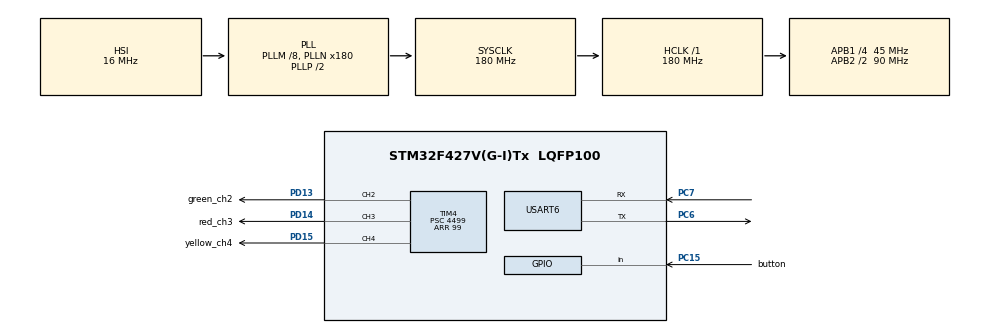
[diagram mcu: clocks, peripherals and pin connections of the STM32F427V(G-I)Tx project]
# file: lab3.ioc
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Mcu.Family=STM32F4
Mcu.Name=STM32F427V(G-I)Tx
Mcu.Package=LQFP100
NVIC.PriorityGroup=NVIC_PRIORITYGROUP_4
NVIC.TIM4_IRQn=true\:0\:0\:false\:false\:true\:true\:true\:true
NVIC.TIM6_DAC_IRQn=true\:0\:0\:false\:false\:true\:true\:true\:true
NVIC.USART6_IRQn=true\:0\:0\:false\:false\:true\:true\:true\:true
PA13.Mode=JTAG_5_pins
PA13.Signal=SYS_JTMS-SWDIO
PA14.Mode=JTAG_5_pins
PA14.Signal=SYS_JTCK-SWCLK
PA15.Mode=JTAG_5_pins
PA15.Signal=SYS_JTDI
PB3.Mode=JTAG_5_pins
PB3.Signal=SYS_JTDO-SWO
PB4.Mode=JTAG_5_pins
PB4.Signal=SYS_JTRST
PC15/OSC32_OUT.GPIO_Label=button
PC15/OSC32_OUT.Signal=GPIO_Input
PC6.Mode=Asynchronous
PC6.Signal=USART6_TX
PC7.Mode=Asynchronous
PC7.Signal=USART6_RX
PD13.GPIO_Label=green_ch2
PD13.Signal=S_TIM4_CH2
PD14.GPIO_Label=red_ch3
PD14.Signal=S_TIM4_CH3
PD15.GPIO_Label=yellow_ch4
PD15.Signal=S_TIM4_CH4
PH0/OSC_IN.Mode=HSE-External-Oscillator
PH0/OSC_IN.Signal=RCC_OSC_IN
PH1/OSC_OUT.Mode=HSE-External-Oscillator
PH1/OSC_OUT.Signal=RCC_OSC_OUT
ProjectManager.HeapSize=0x200
ProjectManager.StackSize=0x400
ProjectManager.TargetToolchain=STM32CubeIDE
RCC.48MHZClocksFreq_Value=90000000
RCC.AHBFreq_Value=180000000
RCC.APB1CLKDivider=RCC_HCLK_DIV4
RCC.APB1Freq_Value=45000000
RCC.APB1TimFreq_Value=90000000
RCC.APB2CLKDivider=RCC_HCLK_DIV2
RCC.APB2Freq_Value=90000000
RCC.APB2TimFreq_Value=180000000
RCC.CortexFreq_Value=180000000
RCC.HCLKFreq_Value=180000000
RCC.HSE_VALUE=25000000
RCC.HSI_VALUE=16000000
RCC.LSE_VALUE=32768
RCC.PLLM=8
RCC.PLLN=180
RCC.SYSCLKFreq_VALUE=180000000
RCC.SYSCLKSource=RCC_SYSCLKSOURCE_PLLCLK
RCC.VCOOutputFreq_Value=360000000
SH.S_TIM4_CH2.0=TIM4_CH2,PWM Generation2 CH2
SH.S_TIM4_CH3.0=TIM4_CH3,PWM Generation3 CH3
SH.S_TIM4_CH4.0=TIM4_CH4,PWM Generation4 CH4
TIM4.Channel-PWM\ Generation2\ CH2=TIM_CHANNEL_2
TIM4.Channel-PWM\ Generation3\ CH3=TIM_CHANNEL_3
TIM4.Channel-PWM\ Generation4\ CH4=TIM_CHANNEL_4
TIM4.Period=99
TIM4.Prescaler=4499
TIM6.Period=9999
TIM6.Prescaler=8999
USART6.VirtualMode=VM_ASYNC
VP_TIM6_VS_ClockSourceINT.Mode=Enable_Timer
board=custom

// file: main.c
/* USER CODE BEGIN Header */
/**
  ******************************************************************************
  * @file           : main.c
  * @brief          : Main program body
  ******************************************************************************
  * @attention
  *
  * Copyright (c) 2023 STMicroelectronics.
  * All rights reserved.
  *
  * This software is licensed under terms that can be found in the LICENSE file
  * in the root directory of this software component.
  * If no LICENSE file comes with this software, it is provided AS-IS.
  *
  ******************************************************************************
  */
/* USER CODE END Header */
#include "main.h"

/* USER CODE BEGIN Includes */
#include <stdlib.h>
#include <stdio.h>
#include <string.h>
/* USER CODE END Includes */

 TIM_HandleTypeDef htim4;
TIM_HandleTypeDef htim6;

UART_HandleTypeDef huart6;

void SystemClock_Config(void);
static void MX_GPIO_Init(void);
static void MX_USART6_UART_Init(void);
static void MX_TIM6_Init(void);
static void MX_TIM4_Init(void);

/* USER CODE BEGIN 0 */
uint8_t codes[8];
//mode a - d
char modes[] = {'a','b','c','d'};
uint32_t pointer = 0;
uint8_t mode = 'a';
uint8_t last = 'a';
void HAL_TIM_PeriodElapsedCallback(TIM_HandleTypeDef *htim){
	static int phase = 0;
	if(htim->Instance == TIM6){
		phase++;
		if (phase > 4) phase = 0;
		int pulse = 0;
		switch(phase){
			case 0: pulse = 0; break;
			case 1: pulse = 10; break;
			case 2: pulse = 30; break;
			case 3: pulse = 60; break;
			case 4: pulse = 80; break;
		}
		switch(mode){
		/*
		 * 2 - green
		 * 3 - red
		 * 4 - yellow
		 */
		case 'a':
			htim4.Instance->CCR2 = pulse;
			htim4.Instance->CCR3 = pulse;
			break;
		case 'b':
			htim4.Instance->CCR2 = pulse;
			htim4.Instance->CCR4 = pulse;
			break;
		case 'c':
			htim4.Instance->CCR2 = pulse;
			htim4.Instance->CCR3 = 80-pulse;
			break;
		case 'd':
			htim4.Instance->CCR2 = pulse;
			htim4.Instance->CCR4 = 80-pulse;
			break;
		default:
			break;
		}
	}
}
void out(char str[]){
	HAL_UART_Transmit(&huart6,(uint8_t*)str,strlen(str),10);
}
uint8_t choosing = 0;
void HAL_UART_RxCpltCallback(UART_HandleTypeDef *huart){
	out("You input:\r\n");
	HAL_UART_Transmit(&huart6,(uint8_t*)codes,sizeof(codes),10);
	out("\r\n");
	uint8_t command = codes[0];
	if(choosing == 1){
		choosing = 0;
		last = mode;
		mode = command;
		return;
	}
	if(command == '1'){
		last = mode;
		pointer++;
		mode = modes[pointer%4];
	}else if(command =='2'){
		mode = last;
	}else if(command == '3'){
		out("accelerate 10%\r\n");
		uint32_t currentPeriod = htim6.Init.Period;
		uint32_t newPeriod = (uint32_t)(currentPeriod * 0.9);
		htim6.Init.Period = newPeriod;
	}else if(command == '4'){
		out("slow down 10%\r\n");
		uint32_t currentPeriod = htim6.Init.Period;
		uint32_t newPeriod = (uint32_t)(currentPeriod * 1.1);
		htim6.Init.Period = newPeriod;
	}
	else if(command=='5'){
		out("Informations：\r\n");
		out("Now the brightness is:\r\n");
		char the_brightness[10];
		out("green: ");
		itoa(htim4.Instance->CCR2,the_brightness,10);
		out(the_brightness);
		out("\r\n");
		out("red: ");
		itoa(htim4.Instance->CCR3,the_brightness,10);
		out(the_brightness);
		out("\r\n");
		out("yellow: ");
		itoa(htim4.Instance->CCR4,the_brightness,10);
		out(the_brightness);
		out("\r\n");
	}else if(command == '6'){
		out("Choose which mode you want to use from 'a' to 'd':\r\n");

	}
	htim4.Instance->CCR2 = 0;
	htim4.Instance->CCR3 = 0;
	htim4.Instance->CCR4 = 0;
	out("Now you are in mode:\r\n");
	char mode_message[2];
	mode_message[0] = mode;
	mode_message[1] = '\0';
	HAL_UART_Transmit(&huart6,(uint8_t*)mode_message,2,10);
	out("\r\n");
	HAL_UART_Receive_IT(&huart6,codes,1);
}
/* USER CODE END 0 */

int main(void)
{

  /* MCU Configuration--------------------------------------------------------*/

  /* Reset of all peripherals, Initializes the Flash interface and the Systick. */
  HAL_Init();

  /* Configure the system clock */
  SystemClock_Config();

  /* Initialize all configured peripherals */
  MX_GPIO_Init();
  MX_USART6_UART_Init();
  MX_TIM6_Init();
  MX_TIM4_Init();
  /* USER CODE BEGIN 2 */
  HAL_UART_Receive_IT(&huart6,codes,1);
  HAL_TIM_Base_Start_IT(&htim6);
  HAL_TIM_PWM_Start(&htim4,TIM_CHANNEL_2);
  HAL_TIM_PWM_Start(&htim4, TIM_CHANNEL_3);
  HAL_TIM_PWM_Start(&htim4, TIM_CHANNEL_4);

  /* USER CODE END 2 */

  /* Infinite loop */
  while (1)
  {

  }
}

void SystemClock_Config(void)
{
  RCC_OscInitTypeDef RCC_OscInitStruct = {0};
  RCC_ClkInitTypeDef RCC_ClkInitStruct = {0};

  /** Configure the main internal regulator output voltage
  */
  __HAL_RCC_PWR_CLK_ENABLE();
  __HAL_PWR_VOLTAGESCALING_CONFIG(PWR_REGULATOR_VOLTAGE_SCALE1);

  /** Initializes the RCC Oscillators according to the specified parameters
  * in the RCC_OscInitTypeDef structure.
  */
  RCC_OscInitStruct.OscillatorType = RCC_OSCILLATORTYPE_HSI;
  RCC_OscInitStruct.HSIState = RCC_HSI_ON;
  RCC_OscInitStruct.HSICalibrationValue = RCC_HSICALIBRATION_DEFAULT;
  RCC_OscInitStruct.PLL.PLLState = RCC_PLL_ON;
  RCC_OscInitStruct.PLL.PLLSource = RCC_PLLSOURCE_HSI;
  RCC_OscInitStruct.PLL.PLLM = 8;
  RCC_OscInitStruct.PLL.PLLN = 180;
  RCC_OscInitStruct.PLL.PLLP = RCC_PLLP_DIV2;
  RCC_OscInitStruct.PLL.PLLQ = 4;
  if (HAL_RCC_OscConfig(&RCC_OscInitStruct) != HAL_OK)
  {
    Error_Handler();
  }

  /** Activate the Over-Drive mode
  */
  if (HAL_PWREx_EnableOverDrive() != HAL_OK)
  {
    Error_Handler();
  }

  /** Initializes the CPU, AHB and APB buses clocks
  */
  RCC_ClkInitStruct.ClockType = RCC_CLOCKTYPE_HCLK|RCC_CLOCKTYPE_SYSCLK
                              |RCC_CLOCKTYPE_PCLK1|RCC_CLOCKTYPE_PCLK2;
  RCC_ClkInitStruct.SYSCLKSource = RCC_SYSCLKSOURCE_PLLCLK;
  RCC_ClkInitStruct.AHBCLKDivider = RCC_SYSCLK_DIV1;
  RCC_ClkInitStruct.APB1CLKDivider = RCC_HCLK_DIV4;
  RCC_ClkInitStruct.APB2CLKDivider = RCC_HCLK_DIV2;

  if (HAL_RCC_ClockConfig(&RCC_ClkInitStruct, FLASH_LATENCY_5) != HAL_OK)
  {
    Error_Handler();
  }
}

static void MX_TIM4_Init(void)
{

  TIM_MasterConfigTypeDef sMasterConfig = {0};
  TIM_OC_InitTypeDef sConfigOC = {0};

  htim4.Instance = TIM4;
  htim4.Init.Prescaler = 4499;
  htim4.Init.CounterMode = TIM_COUNTERMODE_UP;
  htim4.Init.Period = 99;
  htim4.Init.ClockDivision = TIM_CLOCKDIVISION_DIV1;
  htim4.Init.AutoReloadPreload = TIM_AUTORELOAD_PRELOAD_DISABLE;
  if (HAL_TIM_PWM_Init(&htim4) != HAL_OK)
  {
    Error_Handler();
  }
  sMasterConfig.MasterOutputTrigger = TIM_TRGO_RESET;
  sMasterConfig.MasterSlaveMode = TIM_MASTERSLAVEMODE_DISABLE;
  if (HAL_TIMEx_MasterConfigSynchronization(&htim4, &sMasterConfig) != HAL_OK)
  {
    Error_Handler();
  }
  sConfigOC.OCMode = TIM_OCMODE_PWM1;
  sConfigOC.Pulse = 0;
  sConfigOC.OCPolarity = TIM_OCPOLARITY_HIGH;
  sConfigOC.OCFastMode = TIM_OCFAST_DISABLE;
  if (HAL_TIM_PWM_ConfigChannel(&htim4, &sConfigOC, TIM_CHANNEL_2) != HAL_OK)
  {
    Error_Handler();
  }
  if (HAL_TIM_PWM_ConfigChannel(&htim4, &sConfigOC, TIM_CHANNEL_3) != HAL_OK)
  {
    Error_Handler();
  }
  if (HAL_TIM_PWM_ConfigChannel(&htim4, &sConfigOC, TIM_CHANNEL_4) != HAL_OK)
  {
    Error_Handler();
  }
  HAL_TIM_MspPostInit(&htim4);

}

static void MX_TIM6_Init(void)
{

  TIM_MasterConfigTypeDef sMasterConfig = {0};

  htim6.Instance = TIM6;
  htim6.Init.Prescaler = 8999;
  htim6.Init.CounterMode = TIM_COUNTERMODE_UP;
  htim6.Init.Period = 9999;
  htim6.Init.AutoReloadPreload = TIM_AUTORELOAD_PRELOAD_DISABLE;
  if (HAL_TIM_Base_Init(&htim6) != HAL_OK)
  {
    Error_Handler();
  }
  sMasterConfig.MasterOutputTrigger = TIM_TRGO_RESET;
  sMasterConfig.MasterSlaveMode = TIM_MASTERSLAVEMODE_DISABLE;
  if (HAL_TIMEx_MasterConfigSynchronization(&htim6, &sMasterConfig) != HAL_OK)
  {
    Error_Handler();
  }

}

static void MX_USART6_UART_Init(void)
{

  huart6.Instance = USART6;
  huart6.Init.BaudRate = 115200;
  huart6.Init.WordLength = UART_WORDLENGTH_8B;
  huart6.Init.StopBits = UART_STOPBITS_1;
  huart6.Init.Parity = UART_PARITY_NONE;
  huart6.Init.Mode = UART_MODE_TX_RX;
  huart6.Init.HwFlowCtl = UART_HWCONTROL_NONE;
  huart6.Init.OverSampling = UART_OVERSAMPLING_16;
  if (HAL_UART_Init(&huart6) != HAL_OK)
  {
    Error_Handler();
  }

}

static void MX_GPIO_Init(void)
{
  GPIO_InitTypeDef GPIO_InitStruct = {0};

  /* GPIO Ports Clock Enable */
  __HAL_RCC_GPIOC_CLK_ENABLE();
  __HAL_RCC_GPIOH_CLK_ENABLE();
  __HAL_RCC_GPIOD_CLK_ENABLE();
  __HAL_RCC_GPIOA_CLK_ENABLE();
  __HAL_RCC_GPIOB_CLK_ENABLE();

  /*Configure GPIO pin : button_Pin */
  GPIO_InitStruct.Pin = button_Pin;
  GPIO_InitStruct.Mode = GPIO_MODE_INPUT;
  GPIO_InitStruct.Pull = GPIO_NOPULL;
  HAL_GPIO_Init(button_GPIO_Port, &GPIO_InitStruct);

}

void Error_Handler(void)
{
  __disable_irq();
  while (1)
  {
  }
}
